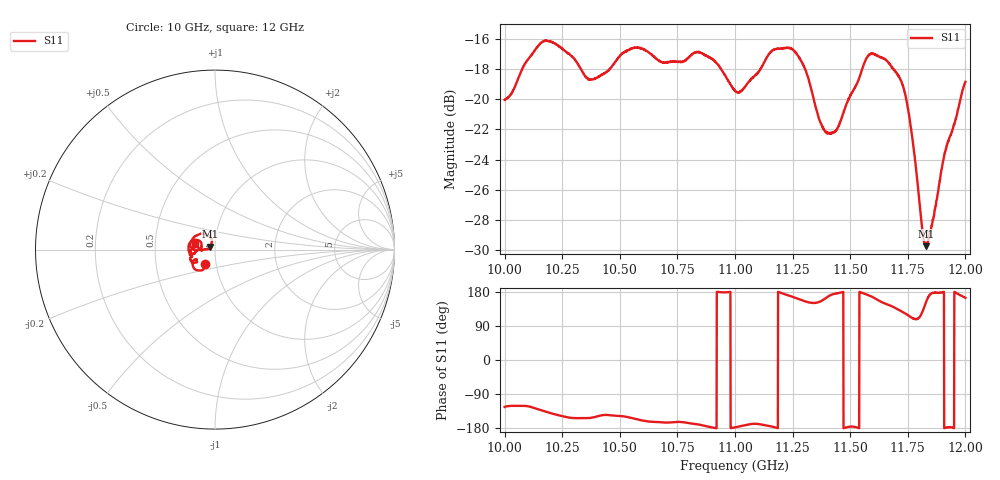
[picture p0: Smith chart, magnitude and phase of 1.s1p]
[Version] 2.0
! Rohde & Schwarz Vector Network Analyzer
! Rohde-Schwarz,ZNL20-2Port,1323001220200009,1.71.1.10-23.02.1.238
! Port Assignments:
! Nominal Port -> Actual Test Port
!  1 -> 1
! Created: GMT 2024-08-27 13:48:00
# Hz S DB R 50
[Number of Ports] 1
! freq[Hz]  S11[mag dB]  S11[ang]
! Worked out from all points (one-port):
!   2001 points, 10 GHz to 12 GHz, reference 50 ohm
!   lowest |S11| = -29.8 dB at 11.83 GHz (marker M1), VSWR 1.07, Z = 47.2 + j1.48 ohm
!   |S11| at or under -10 dB: start of sweep to end of sweep
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[Number of Frequencies] 28
[Network Data]
1e10  -20.03 -123.9
1.0158e10  -16.23 -132.4
1.025e10  -16.62 -148.2
1.0373e10  -18.68 -152.6
1.05e10  -17.10 -147.7
1.0579e10  -16.56 -157.1
1.075e10  -17.49 -163.4
1.0855e10  -16.92 -171.6
1.0922e10  -17.62 179.7
1.1e10  -19.43 -177.8
1.1034e10  -19.33 -173.5
1.1163e10  -16.73 -175.9
1.125e10  -16.66 166.6
1.1304e10  -17.98 154.9
1.1364e10  -21.27 152.9
1.1397e10  -22.21 164.5
1.1442e10  -22.00 176.1
1.15e10  -19.75 -175.7
1.157e10  -17.27 173.3
1.1601e10  -16.98 165.0
1.1707e10  -18.35 133.6
1.175e10  -20.58 118.2
1.1778e10  -23.56 108.5
1.1813e10  -28.69 126.8
1.1828e10  -29.77 151.1
1.1855e10  -28.32 176.2
1.1913e10  -23.43 -178.9
1.2e10  -18.83 164.1
[End]
